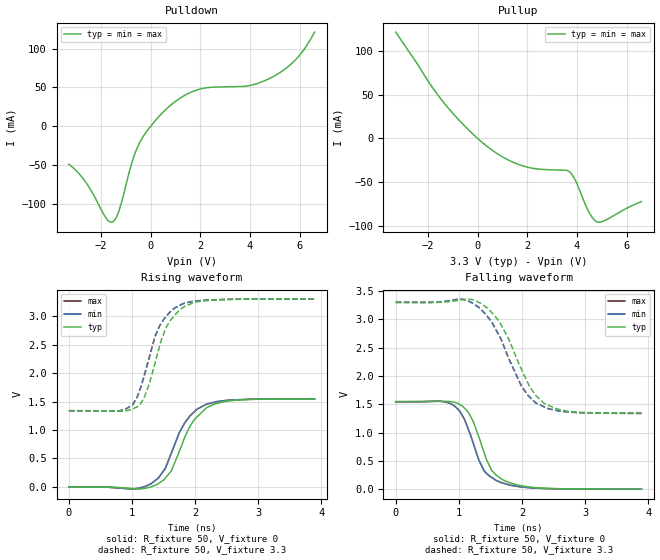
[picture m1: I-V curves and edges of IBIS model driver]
| IBIS file ex2_slowpre_tr200ps.ibs created by PYS2IBIS3
| Missouri S&T EMC Lab
[IBIS Ver] 7.1
[File Name] ex2_slowpre_tr200ps.ibs
[File Rev] 1.0
[Date] July 28, 2026
[Source] ex2 variant 'slowpre' -- predriver at half width
[Notes] Parameter selection; sim_time=3.894e-09, tr=tf=2.000e-10.
[Disclaimer] Experimental characterization for pybis observability study.
[Component] MCM Driver 1
[Manufacturer] MegaFLOPS Inc.
[Package]
| variable   typ   min   max
R_pkg 0 NA NA
L_pkg 0H NA NA
C_pkg 0F NA NA
[Pin]  signal_name   model_name   R_pin   L_pin   C_pin
vdd   vdd   POWER
gnd   gnd   GND
| in in dummy
out   out   driver
| End of Component
| Models and submodels in the file (1): driver (Output)
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[Model] driver
Model_type Output
Polarity Non-Inverting
Enable Active-Low
Vinl  = 0.8V
Vinh  = 2V
C_comp 5.0000pF 5.0000pF 5.0000pF
[Temperature Range] 27.0000 27.0000 27.0000
[Voltage Range] 3.3000V 3.3000V 3.3000V
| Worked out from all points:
|   slope of the pulldown table from 0 to 0.495 V, typ, clamps not added: 27.4 ohm
|   slope of the pullup table from 0 to 0.495 V, typ, clamps not added: 42.7 ohm
|   rising waveform, R_fixture 50, V_fixture 0: 20-80 % time 401ps typ, 389ps min, 389ps max; typ from 0 V to 1.54 V
|   rising waveform, R_fixture 50, V_fixture 3.3: 20-80 % time 350ps typ, 351ps min, 351ps max; typ from 1.34 V to 3.3 V
|   falling waveform, R_fixture 50, V_fixture 0: 20-80 % time 327ps typ, 325ps min, 325ps max; typ from 1.54 V to 0 V
|   falling waveform, R_fixture 50, V_fixture 3.3: 20-80 % time 503ps typ, 503ps min, 503ps max; typ from 3.3 V to 1.34 V
[Pulldown]
| Voltage   I(typ)   I(min)   I(max)
-3.3V     -48.93mA   -48.93mA   -48.93mA
-2.6V     -72.86mA   -72.86mA   -72.86mA
-1.8V     -118.2mA   -118.2mA   -118.2mA
-1.5V     -122.5mA   -122.5mA   -122.5mA
-1.3V     -110.9mA   -110.9mA   -110.9mA
-500mV    -24.59mA   -24.59mA   -24.59mA
600mV     21.34mA    21.34mA    21.34mA
1.9V      47.12mA    47.12mA    47.12mA
3.9V      51.99mA    51.99mA    51.99mA
4.9V      63.38mA    63.38mA    63.38mA
5.9V      87.99mA    87.99mA    87.99mA
6.6V      121.3mA    121.3mA    121.3mA
[Pullup]
| Voltage   I(typ)   I(min)   I(max)
-3.3V     122mA      122mA      122mA
-1.9V     61.75mA    61.75mA    61.75mA
-1.3V     38.86mA    38.86mA    38.86mA
-200mV    5.278mA    5.278mA    5.278mA
700mV     -15.75mA   -15.75mA   -15.75mA
2V        -32.92mA   -32.92mA   -32.92mA
3.7V      -38.24mA   -38.24mA   -38.24mA
3.9V      -45.89mA   -45.89mA   -45.89mA
4.5V      -85.43mA   -85.43mA   -85.43mA
4.8V      -95.97mA   -95.97mA   -95.97mA
5.1V      -94.48mA   -94.48mA   -94.48mA
6.6V      -72.53mA   -72.53mA   -72.53mA
[Ramp]
| variable   typ   min   max
dV/dt_r 0.9270/0.401n 0.9270/0.3886n 0.9270/0.3886n
dV/dt_f 1.1766/0.5026n 1.1766/0.5027n 1.1766/0.5027n
R_load = 50
[Rising Waveform]
R_fixture = 50
V_fixture = 0
|time   V(typ)   V(min)   V(max)
0s        7.302nV    7.302nV    7.302nV
1.017ns   -29.05mV   -38.99mV   -38.99mV
1.403ns   44.86mV    140.2mV    140.2mV
1.528ns   152.6mV    322mV      322mV
1.622ns   276.5mV    588mV      588mV
1.824ns   840.7mV    1.104V     1.104V
1.992ns   1.189V     1.325V     1.325V
2.175ns   1.388V     1.45V      1.45V
2.643ns   1.523V     1.53V      1.53V
3.894ns   1.545V     1.545V     1.545V
[Rising Waveform]
R_fixture = 50
V_fixture = 3.3
|time   V(typ)   V(min)   V(max)
0s        1.338V     1.338V     1.338V
892.6ps   1.334V     1.363V     1.363V
1.013ns   1.37V      1.444V     1.444V
1.115ns   1.426V     1.676V     1.676V
1.267ns   1.783V     2.246V     2.246V
1.442ns   2.489V     2.837V     2.837V
1.606ns   2.921V     3.075V     3.075V
1.813ns   3.154V     3.222V     3.222V
2.327ns   3.284V     3.289V     3.289V
3.894ns   3.3V       3.3V       3.3V
[Falling Waveform]
R_fixture = 50
V_fixture = 0
|time   V(typ)   V(min)   V(max)
0s        1.545V     1.545V     1.545V
795.1ps   1.554V     1.539V     1.539V
935.5ps   1.533V     1.468V     1.468V
1.06ns    1.466V     1.292V     1.292V
1.22ns    1.217V     839.6mV    839.6mV
1.403ns   635.3mV    320.6mV    320.6mV
1.52ns    330.8mV    206.4mV    206.4mV
1.653ns   198.7mV    124.8mV    124.8mV
2.245ns   23.56mV    16.58mV    16.58mV
3.894ns   158.6uV    103.9uV    103.9uV
[Falling Waveform]
R_fixture = 50
V_fixture = 3.3
|time   V(typ)   V(min)   V(max)
0s        3.3V       3.3V       3.3V
1.021ns   3.34V      3.358V     3.358V
1.333ns   3.293V     3.195V     3.195V
1.52ns    3.123V     2.957V     2.957V
1.649ns   2.949V     2.697V     2.697V
1.984ns   2.138V     1.839V     1.839V
2.218ns   1.657V     1.523V     1.523V
2.358ns   1.511V     1.451V     1.451V
2.717ns   1.378V     1.364V     1.364V
3.894ns   1.339V     1.339V     1.339V
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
